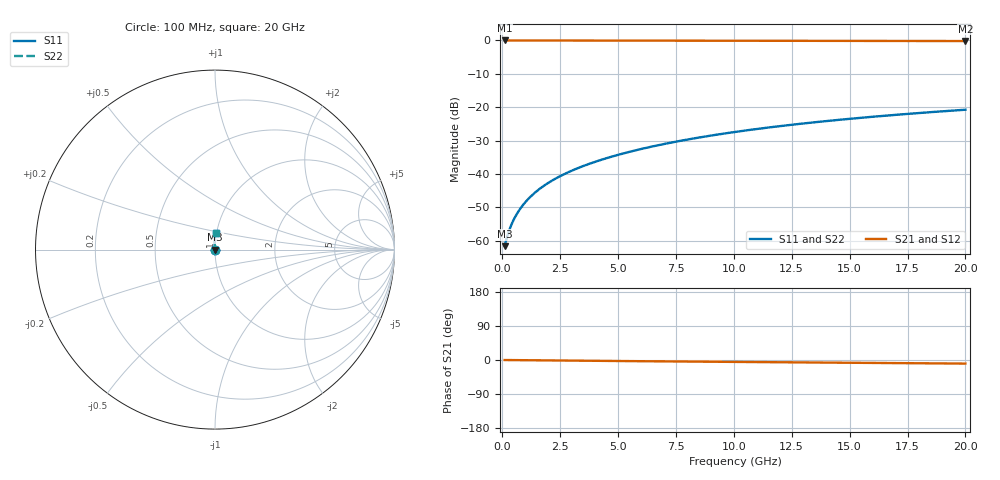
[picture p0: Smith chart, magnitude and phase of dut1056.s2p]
! Touchstone file exported from HFSS 2024.1.0
!  File:  C:/UserFiles/LocalFiles/RDL_TSV_Batchsim/temp_RDL_bottom_1056_1780052189.aedt
!  Generated:  06:58:13 PM May 29, 2026
!  Design:  RDL_bottom
!  Project:  temp_RDL_bottom_1056_1780052189
!  Setup:  Setup1
!  Solution:  Sweep
! Variables:
!  dtsv = 10.80580581um
!  hbump = 3um
!  htsv = 79.47um
!  ldown = 124.7um
!  lrdl = 100um
!  p = 40
!  p1 = 43.16um
!  rhole = 1um
!  t = 450um
!  tdown = 3.65um
!  trdl = 3.915915916um
!  wdown = 25.6um
!  wrdl = 20um
# GHz S MA R 50.000000
! Terminal data exported
! Port[1] = RDL1_T1
! Port[2] = RDL1_T2
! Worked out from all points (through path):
!   200 points, 100 MHz to 20 GHz, reference 50 ohm
!   highest |S21| = -0.01 dB at 100 MHz (marker M1); lowest = -0.2 dB at 20 GHz (marker M2)
!   group delay of S21, straight-line fit = 1.3 ps
!   lowest |S11| = -61.6 dB at 100 MHz (marker M3), VSWR 1.00, Z = 50.1 + j0.0428 ohm
!   |S11| at or under -10 dB: start of sweep to end of sweep
!   |S22| runs from -61.6 to -20.8 dB; largest |S21 - S12| = 3e-15
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0.1  0.0008279 31.1  0.9993 -0.1  0.9993 -0.1  0.0008279 31.1
! Gamma 0 0 0 0
! Port Impedance 50 0 50 0
0.2  0.001117 47.8  0.9992 -0.1  0.9992 -0.1  0.001117 47.8
0.3  0.001438 56.8  0.9992 -0.2  0.9992 -0.2  0.001438 56.8
0.4  0.001763 62.5  0.9991 -0.2  0.9991 -0.2  0.001763 62.5
0.5  0.002091 66.6  0.9991 -0.3  0.9991 -0.3  0.002091 66.6
0.6  0.002424 69.8  0.9991 -0.3  0.9991 -0.3  0.002424 69.8
0.8  0.003101 74.4  0.999 -0.4  0.999 -0.4  0.003101 74.4
1  0.003793 77.6  0.9989 -0.6  0.9989 -0.6  0.003793 77.6
1.2  0.004498 80.0  0.9988 -0.7  0.9988 -0.7  0.004498 80.0
1.4  0.005212 81.8  0.9987 -0.8  0.9987 -0.8  0.005212 81.8
1.7  0.006298 83.9  0.9986 -0.9  0.9986 -0.9  0.006298 83.9
2.2  0.008144 86.3  0.9982 -1.2  0.9982 -1.2  0.008144 86.3
2.8  0.01042 88.4  0.9977 -1.5  0.9977 -1.5  0.01042 88.4
3.5  0.01315 90.0  0.997 -1.9  0.997 -1.9  0.01315 90.0
4.2  0.01598 91.1  0.9963 -2.3  0.9963 -2.3  0.01598 91.1
5  0.01932 92.1  0.9953 -2.7  0.9953 -2.7  0.01932 92.1
6.8  0.02724 93.0  0.993 -3.6  0.993 -3.6  0.02724 93.0
8.4  0.03466 93.1  0.9909 -4.3  0.9909 -4.3  0.03466 93.1
10.1  0.0428 92.6  0.9888 -5.1  0.9888 -5.1  0.0428 92.6
13.4  0.05901 91.0  0.9851 -6.6  0.9851 -6.6  0.05901 91.0
16.7  0.07537 89.0  0.9819 -8.0  0.9819 -8.0  0.07537 89.0
20  0.09165 86.9  0.9789 -9.5  0.9789 -9.5  0.09165 86.9
